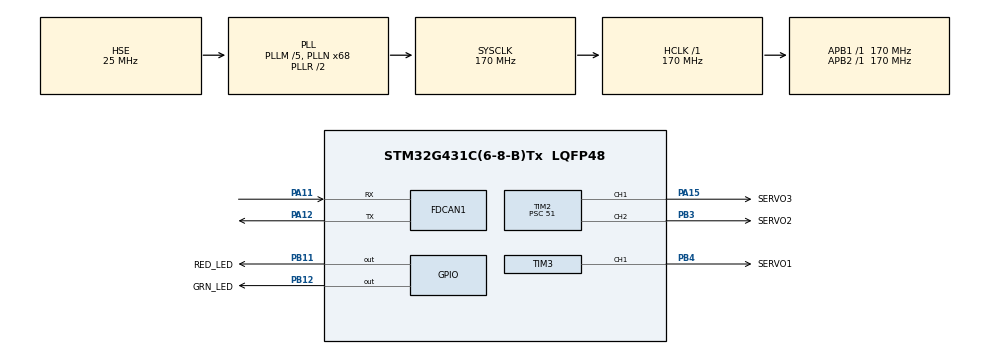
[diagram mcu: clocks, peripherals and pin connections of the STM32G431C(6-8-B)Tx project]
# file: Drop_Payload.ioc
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FDCAN1.CalculateBaudRateNominal=1000000
FDCAN1.CalculateTimeBitNominal=1000
FDCAN1.CalculateTimeQuantumNominal=100.0
FDCAN1.ClockDivider=FDCAN_CLOCK_DIV1
FDCAN1.NominalPrescaler=17
FDCAN1.NominalTimeSeg1=7
FDCAN1.NominalTimeSeg2=2
FREERTOS.Mutexes01=CanardlibMutex,Dynamic,NULL,Available
FREERTOS.Tasks01=CanStatus,16,256,StartCanStatus,Default,NULL,Dynamic,NULL,NULL;CanRx,43,512,StartCanRx,Default,NULL,Dynamic,NULL,NULL;CanTx,32,256,StartCanTx,Default,NULL,Dynamic,NULL,NULL;LedBlink,14,128,StartLedBlink,Default,NULL,Dynamic,NULL,NULL;ServoUpdate,36,256,StartServoUpdate,Default,NULL,Dynamic,NULL,NULL;ErrorLED,15,128,StartErrorLED,Default,NULL,Dynamic,NULL,NULL;EscStatus,16,256,StartEscStatus,Default,NULL,Dynamic,NULL,NULL;EscUpdate,40,256,StartEscUpdate,Default,NULL,Dynamic,NULL,NULL
FREERTOS.configMINIMAL_STACK_SIZE=128
FREERTOS.configTOTAL_HEAP_SIZE=12000
Mcu.Family=STM32G4
Mcu.Name=STM32G431C(6-8-B)Tx
Mcu.Package=LQFP48
NVIC.FDCAN1_IT0_IRQn=true\:5\:0\:false\:false\:true\:true\:true\:true\:true
NVIC.PriorityGroup=NVIC_PRIORITYGROUP_4
NVIC.TIM7_IRQn=true\:15\:0\:false\:false\:true\:false\:false\:true\:true
NVIC.TimeBase=TIM7_IRQn
NVIC.TimeBaseIP=TIM7
PA11.Mode=FDCAN_Activate
PA11.Signal=FDCAN1_RX
PA12.Mode=FDCAN_Activate
PA12.Signal=FDCAN1_TX
PA13.Mode=Serial_Wire
PA13.Signal=SYS_JTMS-SWDIO
PA14.Mode=Serial_Wire
PA14.Signal=SYS_JTCK-SWCLK
PA15.GPIO_Label=SERVO3
PA15.Signal=S_TIM2_CH1
PB11.GPIO_Label=RED_LED
PB11.Signal=GPIO_Output
PB12.GPIO_Label=GRN_LED
PB12.Signal=GPIO_Output
PB3.GPIO_Label=SERVO2
PB3.Signal=S_TIM2_CH2
PB4.GPIO_Label=SERVO1
PB4.Signal=S_TIM3_CH1
PF0-OSC_IN.Mode=HSE-External-Oscillator
PF0-OSC_IN.Signal=RCC_OSC_IN
PF1-OSC_OUT.Mode=HSE-External-Oscillator
PF1-OSC_OUT.Signal=RCC_OSC_OUT
ProjectManager.HeapSize=0x200
ProjectManager.StackSize=0x400
ProjectManager.TargetToolchain=CMake
RCC.ADC12Freq_Value=170000000
RCC.AHBFreq_Value=170000000
RCC.APB1Freq_Value=170000000
RCC.APB1TimFreq_Value=170000000
RCC.APB2Freq_Value=170000000
RCC.APB2TimFreq_Value=170000000
RCC.CortexFreq_Value=170000000
RCC.EXTERNAL_CLOCK_VALUE=12288000
RCC.HCLKFreq_Value=170000000
RCC.HSE_VALUE=25000000
RCC.HSI48_VALUE=48000000
RCC.HSI_VALUE=16000000
RCC.LSE_VALUE=32768
RCC.PLLM=RCC_PLLM_DIV5
RCC.PLLN=68
RCC.PLLSourceVirtual=RCC_PLLSOURCE_HSE
RCC.SYSCLKFreq_VALUE=170000000
RCC.SYSCLKSource=RCC_SYSCLKSOURCE_PLLCLK
RCC.USBFreq_Value=170000000
RCC.VCOOutputFreq_Value=340000000
SH.S_TIM2_CH1.0=TIM2_CH1,PWM Generation1 CH1
SH.S_TIM2_CH2.0=TIM2_CH2,PWM Generation2 CH2
SH.S_TIM3_CH1.0=TIM3_CH1,PWM Generation1 CH1
TIM2.Channel-PWM\ Generation1\ CH1=TIM_CHANNEL_1
TIM2.Channel-PWM\ Generation2\ CH2=TIM_CHANNEL_2
TIM2.PeriodNoDither=65383
TIM2.Prescaler=51
TIM3.Channel-PWM\ Generation1\ CH1=TIM_CHANNEL_1
TIM3.PeriodNoDither=65383
TIM3.Prescaler=51
VP_FREERTOS_VS_CMSIS_V2.Mode=CMSIS_V2
VP_SYS_VS_DBSignals.Mode=DisableDeadBatterySignals
VP_SYS_VS_tim7.Mode=TIM7
board=custom

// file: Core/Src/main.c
/* USER CODE BEGIN Header */
/**
  ******************************************************************************
  * @file           : main.c
  * @brief          : Main program body
  ******************************************************************************
  * @attention
  *
  * Copyright (c) 2026 STMicroelectronics.
  * All rights reserved.
  *
  * This software is licensed under terms that can be found in the LICENSE file
  * in the root directory of this software component.
  * If no LICENSE file comes with this software, it is provided AS-IS.
  *
  ******************************************************************************
  */
/* USER CODE END Header */
#include "main.h"
#include "cmsis_os.h"

/* USER CODE BEGIN PTD */
uint32_t servo_error = 0;
/* USER CODE END PTD */

FDCAN_HandleTypeDef hfdcan1;

TIM_HandleTypeDef htim2;
TIM_HandleTypeDef htim3;

/* Definitions for CanStatus */
osThreadId_t CanStatusHandle;
const osThreadAttr_t CanStatus_attributes = {
  .name = "CanStatus",
  .priority = (osPriority_t) osPriorityBelowNormal,
  .stack_size = 256 * 4
};
/* Definitions for CanRx */
osThreadId_t CanRxHandle;
const osThreadAttr_t CanRx_attributes = {
  .name = "CanRx",
  .priority = (osPriority_t) osPriorityHigh3,
  .stack_size = 512 * 4
};
/* Definitions for CanTx */
osThreadId_t CanTxHandle;
const osThreadAttr_t CanTx_attributes = {
  .name = "CanTx",
  .priority = (osPriority_t) osPriorityAboveNormal,
  .stack_size = 256 * 4
};
/* Definitions for LedBlink */
osThreadId_t LedBlinkHandle;
const osThreadAttr_t LedBlink_attributes = {
  .name = "LedBlink",
  .priority = (osPriority_t) osPriorityLow6,
  .stack_size = 128 * 4
};
/* Definitions for ServoUpdate */
osThreadId_t ServoUpdateHandle;
const osThreadAttr_t ServoUpdate_attributes = {
  .name = "ServoUpdate",
  .priority = (osPriority_t) osPriorityAboveNormal4,
  .stack_size = 256 * 4
};
/* Definitions for ErrorLED */
osThreadId_t ErrorLEDHandle;
const osThreadAttr_t ErrorLED_attributes = {
  .name = "ErrorLED",
  .priority = (osPriority_t) osPriorityLow7,
  .stack_size = 128 * 4
};
/* Definitions for EscStatus */
osThreadId_t EscStatusHandle;
const osThreadAttr_t EscStatus_attributes = {
  .name = "EscStatus",
  .priority = (osPriority_t) osPriorityBelowNormal,
  .stack_size = 256 * 4
};
/* Definitions for EscUpdate */
osThreadId_t EscUpdateHandle;
const osThreadAttr_t EscUpdate_attributes = {
  .name = "EscUpdate",
  .priority = (osPriority_t) osPriorityHigh,
  .stack_size = 256 * 4
};
/* Definitions for CanardlibMutex */
osMutexId_t CanardlibMutexHandle;
const osMutexAttr_t CanardlibMutex_attributes = {
  .name = "CanardlibMutex"
};

void SystemClock_Config(void);
static void MX_GPIO_Init(void);
static void MX_FDCAN1_Init(void);
static void MX_TIM3_Init(void);
static void MX_TIM2_Init(void);
void StartCanStatus(void *argument);
void StartCanRx(void *argument);
void StartCanTx(void *argument);
void StartLedBlink(void *argument);
void StartServoUpdate(void *argument);
void StartErrorLED(void *argument);
void StartEscStatus(void *argument);
void StartEscUpdate(void *argument);

/* USER CODE BEGIN 0 */
void write_servo(int8_t i, uint16_t crr){
  switch(i){
    case 0:
      __HAL_TIM_SET_COMPARE(&htim3, TIM_CHANNEL_1 , crr);
      servo_error &= ~(1u << 30);
      break;
    case 1:
      __HAL_TIM_SET_COMPARE(&htim2, TIM_CHANNEL_2 , crr);
      servo_error &= ~(1u << 30);
      break;
    case 2:
      __HAL_TIM_SET_COMPARE(&htim2, TIM_CHANNEL_1 , crr);
      servo_error &= ~(1u << 30);
      break;
    default:
      servo_error |= (1u << 30);
      break;
  }
}
/* USER CODE END 0 */

int main(void)
{

  /* MCU Configuration--------------------------------------------------------*/

  /* Reset of all peripherals, Initializes the Flash interface and the Systick. */
  HAL_Init();

  /* Configure the system clock */
  SystemClock_Config();

  /* Initialize all configured peripherals */
  MX_GPIO_Init();
  MX_FDCAN1_Init();
  MX_TIM3_Init();
  MX_TIM2_Init();
  /* USER CODE BEGIN 2 */

  // Setup canbus interupt
  HAL_FDCAN_ConfigInterruptLines(&hfdcan1, FDCAN_IT_GROUP_RX_FIFO0, FDCAN_INTERRUPT_LINE0);
  HAL_FDCAN_ActivateNotification(&hfdcan1, FDCAN_IT_RX_FIFO0_NEW_MESSAGE, 0);

  // Initialize dronecan
  can_node_init(&hfdcan1);

  // Start Canbus
  HAL_FDCAN_Start(&hfdcan1);

  // Start PWM channels
  HAL_TIM_PWM_Start(&htim3, TIM_CHANNEL_1);
  HAL_TIM_PWM_Start(&htim2, TIM_CHANNEL_1);
  HAL_TIM_PWM_Start(&htim2, TIM_CHANNEL_2);

  /* USER CODE END 2 */

  /* Init scheduler */
  osKernelInitialize();
  /* Create the mutex(es) */
  /* creation of CanardlibMutex */
  CanardlibMutexHandle = osMutexNew(&CanardlibMutex_attributes);

  /* Create the thread(s) */
  /* creation of CanStatus */
  CanStatusHandle = osThreadNew(StartCanStatus, NULL, &CanStatus_attributes);

  /* creation of CanRx */
  CanRxHandle = osThreadNew(StartCanRx, NULL, &CanRx_attributes);

  /* creation of CanTx */
  CanTxHandle = osThreadNew(StartCanTx, NULL, &CanTx_attributes);

  /* creation of LedBlink */
  LedBlinkHandle = osThreadNew(StartLedBlink, NULL, &LedBlink_attributes);

  /* creation of ServoUpdate */
  ServoUpdateHandle = osThreadNew(StartServoUpdate, NULL, &ServoUpdate_attributes);

  /* creation of ErrorLED */
  ErrorLEDHandle = osThreadNew(StartErrorLED, NULL, &ErrorLED_attributes);

  /* creation of EscStatus */
  EscStatusHandle = osThreadNew(StartEscStatus, NULL, &EscStatus_attributes);

  /* creation of EscUpdate */
  EscUpdateHandle = osThreadNew(StartEscUpdate, NULL, &EscUpdate_attributes);

  /* Start scheduler */
  osKernelStart();

  /* We should never get here as control is now taken by the scheduler */

  /* Infinite loop */
  while (1)
  {

  }
}

void SystemClock_Config(void)
{
  RCC_OscInitTypeDef RCC_OscInitStruct = {0};
  RCC_ClkInitTypeDef RCC_ClkInitStruct = {0};

  /** Configure the main internal regulator output voltage
  */
  HAL_PWREx_ControlVoltageScaling(PWR_REGULATOR_VOLTAGE_SCALE1_BOOST);

  /** Initializes the RCC Oscillators according to the specified parameters
  * in the RCC_OscInitTypeDef structure.
  */
  RCC_OscInitStruct.OscillatorType = RCC_OSCILLATORTYPE_HSE;
  RCC_OscInitStruct.HSEState = RCC_HSE_ON;
  RCC_OscInitStruct.PLL.PLLState = RCC_PLL_ON;
  RCC_OscInitStruct.PLL.PLLSource = RCC_PLLSOURCE_HSE;
  RCC_OscInitStruct.PLL.PLLM = RCC_PLLM_DIV5;
  RCC_OscInitStruct.PLL.PLLN = 68;
  RCC_OscInitStruct.PLL.PLLP = RCC_PLLP_DIV2;
  RCC_OscInitStruct.PLL.PLLQ = RCC_PLLQ_DIV2;
  RCC_OscInitStruct.PLL.PLLR = RCC_PLLR_DIV2;
  if (HAL_RCC_OscConfig(&RCC_OscInitStruct) != HAL_OK)
  {
    Error_Handler();
  }

  /** Initializes the CPU, AHB and APB buses clocks
  */
  RCC_ClkInitStruct.ClockType = RCC_CLOCKTYPE_HCLK|RCC_CLOCKTYPE_SYSCLK
                              |RCC_CLOCKTYPE_PCLK1|RCC_CLOCKTYPE_PCLK2;
  RCC_ClkInitStruct.SYSCLKSource = RCC_SYSCLKSOURCE_PLLCLK;
  RCC_ClkInitStruct.AHBCLKDivider = RCC_SYSCLK_DIV1;
  RCC_ClkInitStruct.APB1CLKDivider = RCC_HCLK_DIV1;
  RCC_ClkInitStruct.APB2CLKDivider = RCC_HCLK_DIV1;

  if (HAL_RCC_ClockConfig(&RCC_ClkInitStruct, FLASH_LATENCY_4) != HAL_OK)
  {
    Error_Handler();
  }
}

static void MX_FDCAN1_Init(void)
{

  hfdcan1.Instance = FDCAN1;
  hfdcan1.Init.ClockDivider = FDCAN_CLOCK_DIV1;
  hfdcan1.Init.FrameFormat = FDCAN_FRAME_CLASSIC;
  hfdcan1.Init.Mode = FDCAN_MODE_NORMAL;
  hfdcan1.Init.AutoRetransmission = DISABLE;
  hfdcan1.Init.TransmitPause = DISABLE;
  hfdcan1.Init.ProtocolException = DISABLE;
  hfdcan1.Init.NominalPrescaler = 17;
  hfdcan1.Init.NominalSyncJumpWidth = 1;
  hfdcan1.Init.NominalTimeSeg1 = 7;
  hfdcan1.Init.NominalTimeSeg2 = 2;
  hfdcan1.Init.DataPrescaler = 1;
  hfdcan1.Init.DataSyncJumpWidth = 1;
  hfdcan1.Init.DataTimeSeg1 = 1;
  hfdcan1.Init.DataTimeSeg2 = 1;
  hfdcan1.Init.StdFiltersNbr = 0;
  hfdcan1.Init.ExtFiltersNbr = 0;
  hfdcan1.Init.TxFifoQueueMode = FDCAN_TX_FIFO_OPERATION;
  if (HAL_FDCAN_Init(&hfdcan1) != HAL_OK)
  {
    Error_Handler();
  }

}

static void MX_TIM2_Init(void)
{

  TIM_MasterConfigTypeDef sMasterConfig = {0};
  TIM_OC_InitTypeDef sConfigOC = {0};

  htim2.Instance = TIM2;
  htim2.Init.Prescaler = 51;
  htim2.Init.CounterMode = TIM_COUNTERMODE_UP;
  htim2.Init.Period = 65383;
  htim2.Init.ClockDivision = TIM_CLOCKDIVISION_DIV1;
  htim2.Init.AutoReloadPreload = TIM_AUTORELOAD_PRELOAD_DISABLE;
  if (HAL_TIM_PWM_Init(&htim2) != HAL_OK)
  {
    Error_Handler();
  }
  sMasterConfig.MasterOutputTrigger = TIM_TRGO_RESET;
  sMasterConfig.MasterSlaveMode = TIM_MASTERSLAVEMODE_DISABLE;
  if (HAL_TIMEx_MasterConfigSynchronization(&htim2, &sMasterConfig) != HAL_OK)
  {
    Error_Handler();
  }
  sConfigOC.OCMode = TIM_OCMODE_PWM1;
  sConfigOC.Pulse = 0;
  sConfigOC.OCPolarity = TIM_OCPOLARITY_HIGH;
  sConfigOC.OCFastMode = TIM_OCFAST_DISABLE;
  if (HAL_TIM_PWM_ConfigChannel(&htim2, &sConfigOC, TIM_CHANNEL_1) != HAL_OK)
  {
    Error_Handler();
  }
  if (HAL_TIM_PWM_ConfigChannel(&htim2, &sConfigOC, TIM_CHANNEL_2) != HAL_OK)
  {
    Error_Handler();
  }
  HAL_TIM_MspPostInit(&htim2);

}

static void MX_TIM3_Init(void)
{

  TIM_MasterConfigTypeDef sMasterConfig = {0};
  TIM_OC_InitTypeDef sConfigOC = {0};

  htim3.Instance = TIM3;
  htim3.Init.Prescaler = 51;
  htim3.Init.CounterMode = TIM_COUNTERMODE_UP;
  htim3.Init.Period = 65383;
  htim3.Init.ClockDivision = TIM_CLOCKDIVISION_DIV1;
  htim3.Init.AutoReloadPreload = TIM_AUTORELOAD_PRELOAD_DISABLE;
  if (HAL_TIM_PWM_Init(&htim3) != HAL_OK)
  {
    Error_Handler();
  }
  sMasterConfig.MasterOutputTrigger = TIM_TRGO_RESET;
  sMasterConfig.MasterSlaveMode = TIM_MASTERSLAVEMODE_DISABLE;
  if (HAL_TIMEx_MasterConfigSynchronization(&htim3, &sMasterConfig) != HAL_OK)
  {
    Error_Handler();
  }
  sConfigOC.OCMode = TIM_OCMODE_PWM1;
  sConfigOC.Pulse = 0;
  sConfigOC.OCPolarity = TIM_OCPOLARITY_HIGH;
  sConfigOC.OCFastMode = TIM_OCFAST_DISABLE;
  if (HAL_TIM_PWM_ConfigChannel(&htim3, &sConfigOC, TIM_CHANNEL_1) != HAL_OK)
  {
    Error_Handler();
  }
  HAL_TIM_MspPostInit(&htim3);

}

static void MX_GPIO_Init(void)
{
  GPIO_InitTypeDef GPIO_InitStruct = {0};

  /* GPIO Ports Clock Enable */
  __HAL_RCC_GPIOF_CLK_ENABLE();
  __HAL_RCC_GPIOB_CLK_ENABLE();
  __HAL_RCC_GPIOA_CLK_ENABLE();

  /*Configure GPIO pin Output Level */
  HAL_GPIO_WritePin(GPIOB, RED_LED_Pin|GRN_LED_Pin, GPIO_PIN_RESET);

  /*Configure GPIO pins : RED_LED_Pin GRN_LED_Pin */
  GPIO_InitStruct.Pin = RED_LED_Pin|GRN_LED_Pin;
  GPIO_InitStruct.Mode = GPIO_MODE_OUTPUT_PP;
  GPIO_InitStruct.Pull = GPIO_NOPULL;
  GPIO_InitStruct.Speed = GPIO_SPEED_FREQ_LOW;
  HAL_GPIO_Init(GPIOB, &GPIO_InitStruct);

}

/* USER CODE BEGIN 4 */

uint32_t introduce_jitter(uint32_t range_ms){
  int32_t uid = HAL_GetUIDw0() ^ HAL_GetUIDw1() ^ HAL_GetUIDw2();
  return uid % range_ms;
}

// Canbus interupt
void HAL_FDCAN_RxFifo0Callback(FDCAN_HandleTypeDef *hfdcan, uint32_t flags){
  (void) flags;

  // Run library function to clear can buffer to ring buffer
  can_node_rx_isr(hfdcan);

  // Notify rx task to run
  BaseType_t woken = pdFALSE;
  vTaskNotifyGiveFromISR(CanRxHandle, &woken);
  portYIELD_FROM_ISR(woken);
}

/* USER CODE END 4 */

void StartCanStatus(void *argument)
{
  /* USER CODE BEGIN 5 */
  (void) argument;
  osDelay(introduce_jitter(1000));
  uint32_t ticks = osKernelGetTickCount();

  for(;;)
  {
    // Wait 1 second
    ticks += 1000U;
    osDelayUntil(ticks);

    // Aquire canbus mutex
    if (osMutexAcquire(CanardlibMutexHandle, osWaitForever) == osOK)
    {
      // Send update
      can_node_1hz_tasks();

      osMutexRelease(CanardlibMutexHandle);
    }
      // Notify canbus transmit task to send data
      xTaskNotifyGive(CanTxHandle);
  }
  /* USER CODE END 5 */
}

void StartCanRx(void *argument)
{
  /* USER CODE BEGIN StartCanRx */
  (void) argument;

  // Getting node allocated
  uint8_t can_id_status = 0;

  // Turn red led on to indicate wait in progress
  HAL_GPIO_WritePin(RED_LED_GPIO_Port, RED_LED_Pin, GPIO_PIN_SET);

  // Wait untill node allocated
  while(can_id_status != 1) {

    // Thread safe delay, precision not required
    osDelay(20);

    // Get canbus mutex
    if(osMutexAcquire(CanardlibMutexHandle, osWaitForever) == osOK)
    {
      // Process incoming messages
      while(can_node_dequeue_and_process()) {}

      // Try to get dynamic node, returns 2 to signal data transmission required, 1 if recieved and 0 if else
      can_id_status = can_node_poll_dna();

      // Transmit data if required
      if (can_id_status == 2)
      {
        xTaskNotifyGive(CanTxHandle);
      }

      osMutexRelease(CanardlibMutexHandle);
    }
  }

  // Turn off red led - Node aquired
  HAL_GPIO_WritePin(RED_LED_GPIO_Port, RED_LED_Pin, GPIO_PIN_RESET);

  /* Infinite loop */
  for(;;)
  {

    // Wait forever untill triggered by canbus interupt
    ulTaskNotifyTake(pdTRUE, portMAX_DELAY);

    // Aquire mutex
    if (osMutexAcquire(CanardlibMutexHandle, osWaitForever) == osOK)
    {
      // Process canbus rx frames
      while(can_node_dequeue_and_process()) {}
      osMutexRelease(CanardlibMutexHandle);
    }
      // Notify canbus tx task to send data
      // Done as processing data can require responding
      xTaskNotifyGive(CanTxHandle);
  }
  /* USER CODE END StartCanRx */
}

void StartCanTx(void *argument)
{
  /* USER CODE BEGIN StartCanTx */
  for(;;)
  {
    // Wait forever untill function is called
    ulTaskNotifyTake(pdTRUE, portMAX_DELAY);

    // Aquire canbus mutex
    if(osMutexAcquire(CanardlibMutexHandle, osWaitForever) == osOK)
    {
      // Call drone can send data function
      can_node_flush_tx();
      osMutexRelease(CanardlibMutexHandle);
    }
  }
  /* USER CODE END StartCanTx */
}

void StartLedBlink(void *argument)
{
  /* USER CODE BEGIN StartLedBlink */
  (void) argument;
  osDelay(introduce_jitter(1000));
  /* Infinite loop */
  for(;;)
  {
    HAL_GPIO_WritePin(GRN_LED_GPIO_Port, GRN_LED_Pin, GPIO_PIN_SET);
    osDelay(100);
    HAL_GPIO_WritePin(GRN_LED_GPIO_Port, GRN_LED_Pin, GPIO_PIN_RESET);
    osDelay(900);
  }
  /* USER CODE END StartLedBlink */
}

void StartServoUpdate(void *argument)
{
  /* USER CODE BEGIN StartServoUpdate */
  (void) argument;
  osDelay(introduce_jitter(1000));
  uint32_t ticks = osKernelGetTickCount();
  update_tracking servo_status[SERVO_COUNT] = {0};
  uint16_t pulse = 0;
  /* Infinite loop */
  for(;;)
  {
    // Update at 50hz
    ticks += 20;
    osDelayUntil(ticks);
    for(int i = 0; i < SERVO_COUNT; i++){
      if (servos[i].last_update != servo_status[i].last_update){
        servo_status[i].update_failed_count = 0;
        servo_status[i].update_without_fault ++;
        if (servo_status[i].update_without_fault > 50) servo_error &= ~(1u << i);

        // If servo command large spin one way, if small spin the other, else do nothing
        if (servos[i].servo_cmd > SERVO_UPPER_LIMIT) pulse = SERVO_SPIN_CLKWISE ;
        else if (servos[i].servo_cmd < SERVO_LOWER_LIMIT) pulse = SERVO_SPIN_CNTCLKWISE;
        else pulse = SERVO_CENTER;
        write_servo(i, pulse);
      }
      else {
        servo_status[i].update_failed_count ++;
        servo_status[i].update_without_fault = 0;
        if (servo_status[i].update_failed_count >= ALLOWED_SERVO_FAILS) {
          servo_error |= (1u << i);
          write_servo(i, 0);
        }
      }
      servo_status[i].last_update = servos[i].last_update;
    }
  }
  /* USER CODE END StartServoUpdate */
}

void StartErrorLED(void *argument)
{
  /* USER CODE BEGIN StartErrorLED */
  /* Infinite loop */
  for(;;)
  {
    osDelay(500);
    if (servo_error != 0){
      HAL_GPIO_WritePin(RED_LED_GPIO_Port, RED_LED_Pin, GPIO_PIN_SET);
    }
    else {
      HAL_GPIO_WritePin(RED_LED_GPIO_Port, RED_LED_Pin, GPIO_PIN_RESET);
    }
  }
  /* USER CODE END StartErrorLED */
}

void StartEscStatus(void *argument)
{
  /* USER CODE BEGIN StartEscStatus */
  // (void) argument;
  // osDelay(introduce_jitter(1000));
  // uint32_t ticks = osKernelGetTickCount();
  // /* Infinite loop */
  for(;;)
  {
    osDelay(1000);
    // Send status at 10hz
    // ticks += 100U;
    // osDelayUntil(ticks);

    // // Aquire mutex
    // if (osMutexAcquire(CanardlibMutexHandle, osWaitForever) == osOK){
    //   // Send status
    //   send_esc_status();
    //   osMutexRelease(CanardlibMutexHandle);
    // }
    // xTaskNotifyGive(CanTxHandle);
  }

  /* USER CODE END StartEscStatus */
}

void StartEscUpdate(void *argument)
{
  /* USER CODE BEGIN StartEscUpdate */
  // (void) argument;
  // osDelay(introduce_jitter(1000));
  // uint32_t ticks = osKernelGetTickCount();
  // update_tracking esc_status[ESC_COUNT] = {0};
  // uint16_t pulse = 0;
  /* Infinite loop */
  for(;;)
  {
    osDelay(1000);
    // Update at 200hz
    // ticks += 5;
    // osDelayUntil(ticks);
    // for(int i = 0; i < ESC_COUNT; i++){
    //   if (esc[i].last_update !=esc_status[i].last_update){
    //     esc_status[i].update_failed_count = 0;
    //     esc_status[i].update_without_fault ++;
    //     if (esc_status[i].update_without_fault > 200) servo_error &= ~(1u << 5);
    //     // If servo command large spin one way, if small spin the other, else do nothing
    //     if (esc[i].last_update > SERVO_UPPER_LIMIT) pulse = SERVO_SPIN_CLKWISE;
    //     else if (esc[i].last_update < SERVO_LOWER_LIMIT) pulse = SERVO_SPIN_CNTCLKWISE;
    //     else pulse = 0;
    //     write_servo(1, pulse);
    //     write_servo(2, pulse);
    //   }
    //   else {
    //     esc_status[i].update_failed_count ++;
    //     esc_status[i].update_without_fault = 0;
    //     if (esc_status[i].update_failed_count >= ALLOWED_SERVO_FAILS) {
    //       servo_error |= (1u << 5);
    //       write_servo(1, pulse);
    //       write_servo(2, pulse);
    //     }
    //   }
    //   esc_status[i].last_update = esc[i].last_update;
    // }

  }
  /* USER CODE END StartEscUpdate */
}

void HAL_TIM_PeriodElapsedCallback(TIM_HandleTypeDef *htim)
{
  if (htim->Instance == TIM7)
  {
    HAL_IncTick();
  }
}

void Error_Handler(void)
{
  __disable_irq();
  while (1)
  {
  }
}
